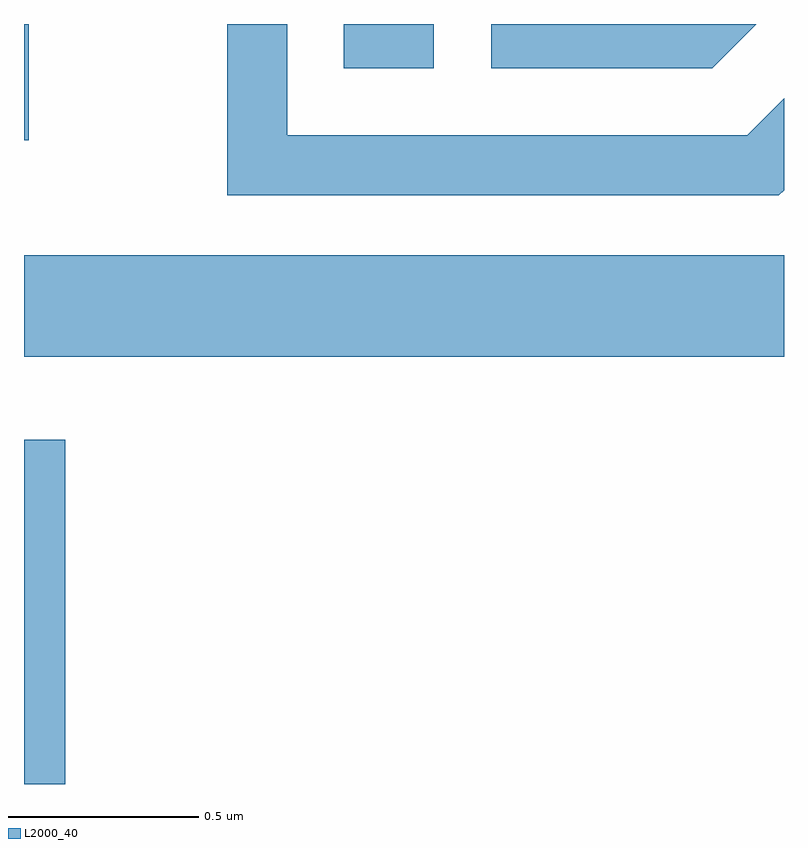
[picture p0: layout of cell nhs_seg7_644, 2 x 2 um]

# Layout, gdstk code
import gdstk
lib = gdstk.Library(unit=1e-6, precision=1e-09)
def R(c, l, rs):  # rectangles x0, y0, x1, y1
    for r in rs: c.add(gdstk.rectangle(r[:2], r[2:], *l))
def P(c, l, *ps):  # polygons
    for p in ps: c.add(gdstk.Polygon(p, *l))
L2000_40 = (2000, 40)

nhs_seg7_644 = lib.new_cell('nhs_seg7_644')
R(nhs_seg7_644, L2000_40, [(189.611,1764.252,189.719,1765.158), (189.611,1765.376,191.611,1765.644), (189.611,1765.946,189.624,1766.252), (190.453,1766.136,190.689,1766.252)])
P(nhs_seg7_644, L2000_40, [(191.611,1765.815),(191.611,1766.056),(191.514,1765.959),(190.304,1765.959),(190.304,1766.252),(190.146,1766.252),(190.146,1765.801),(191.597,1765.801)],
  [(191.538,1766.252),(190.841,1766.252),(190.841,1766.136),(191.422,1766.136)])

lib.write_gds('nhs_seg7_644.gds')
